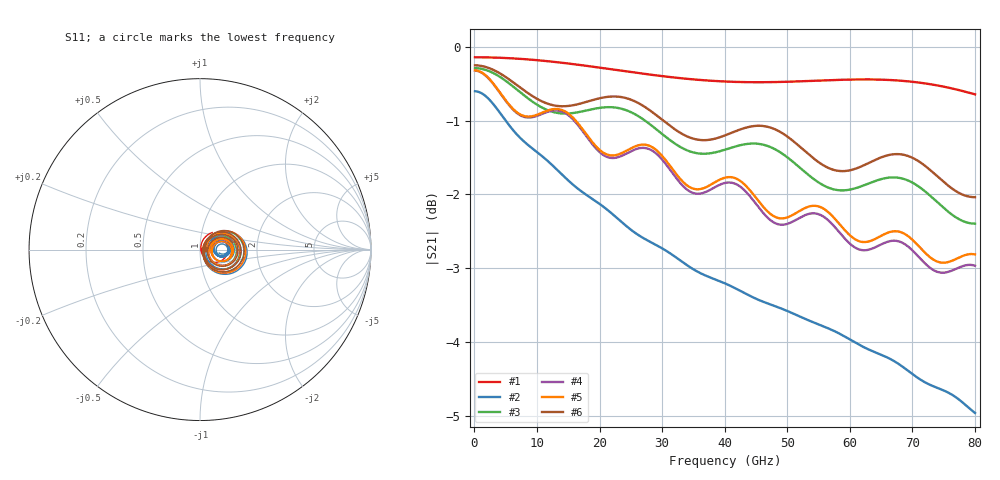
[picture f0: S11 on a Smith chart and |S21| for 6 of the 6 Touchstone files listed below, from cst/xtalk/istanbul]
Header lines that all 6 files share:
! TOUCHSTONE file generated by CST MICROWAVE STUDIO
! Header version: 2024
! Port assignment regex: !\s*Touchstone port\s*([0-9]+)\s*=\s*(CST MWS port|CST DES external port|CST DES block port)\s*(.+)\s* \(\"(.*)\"\)(\s*mode\s*([0-9]+))?.*
! Touchstone port assignment:
! Touchstone port 1 = CST MWS port 1 ("")
! Touchstone port 2 = CST MWS port 2 ("")
! Touchstone port 3 = CST MWS port 3 ("")
! Touchstone port 4 = CST MWS port 4 ("")
# GHz S MA R 50
Fixed: L1 = 0.01, L2 = 0.076, PITCH = 0.2, W1 = 0.002, W2 = 0.022, gap = 0.00415, interaxis = 0.625, ln_thickness = 0.000275, mtx = 0.002, si_thickness = 0.3, sio2_thickness = 0.0047, wg = 0.03, ws = 0.01
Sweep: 80 MHz to 80 GHz
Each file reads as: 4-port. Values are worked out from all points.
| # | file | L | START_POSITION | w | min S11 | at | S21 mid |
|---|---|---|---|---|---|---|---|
| 1 | ISTANBUL_SW_1p00mm.s4p | 1 | 0.075 | 1 | -45.5 dB | 63.44 GHz | -0.5 dB at 40.08 GHz |
| 2 | ISTANBUL_SW_8p75mm.s4p | 8.75 | 0.075 | 1 | -33.7 dB | 7.84 GHz | -3.2 dB at 40.08 GHz |
| 3 | TEST0_XTALK_SW_3mm - mesh refined.s4p | 3 | 0.1 | 1 | -34.3 dB | 23.12 GHz | -1.4 dB at 40.08 GHz |
| 4 | TEST0_XTALK_SW_5mm - wider.s4p | 5 | 0.1 | 2 | -33.8 dB | 13.92 GHz | -1.8 dB at 40.08 GHz |
| 5 | TEST0_XTALK_SW_5mm.s4p | 5 | 0.1 | 1 | -34.0 dB | 13.92 GHz | -1.8 dB at 40.08 GHz |
| 6 | TEST0_XTALK_SW__3p00mm.s4p | 3 | 0.1 | 1 | -35.9 dB | 23.44 GHz | -1.2 dB at 40.08 GHz |
